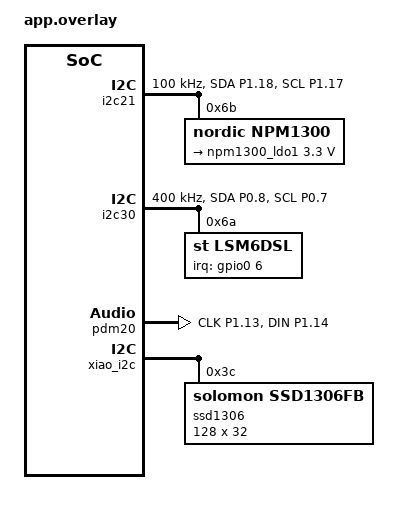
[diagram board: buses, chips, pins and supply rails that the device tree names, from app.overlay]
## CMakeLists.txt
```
cmake_minimum_required(VERSION 3.20.0)

# M4: converged OLED-variant firmware. Assembles the input side (gesture + pose
# + mic + LC3 uplink) with OLED text output. NO audio-downlink / HR (the
# speaker_stubs replace the downlink+playback seam; HR modules aren't compiled).

find_package(Zephyr REQUIRED HINTS $ENV{ZEPHYR_BASE})
project(nrf54_oled)

set(SHARED ${CMAKE_CURRENT_SOURCE_DIR}/../../src)

target_sources(app PRIVATE
    src/main.cpp
    src/speaker_stubs.cpp
    # output
    ${SHARED}/display_oled.cpp
    ${SHARED}/ble_display.cpp
    # gesture + orientation
    ${SHARED}/orientation.cpp
    ${SHARED}/gesture_poses.cpp
    ${SHARED}/gesture_mode.cpp
    # mic + LC3 uplink
    ${SHARED}/mic_vad.cpp
    ${SHARED}/mic_vad_rms.cpp
    ${SHARED}/audio_stream.cpp
    ${SHARED}/lc3_codec.c
    ${SHARED}/ble_audio.cpp
)
target_include_directories(app PRIVATE ${SHARED})
```

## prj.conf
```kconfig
# M4: converged OLED variant -- display + gesture/pose + mic LC3 uplink.
CONFIG_CPP=y
CONFIG_STD_CPP17=y
CONFIG_NEWLIB_LIBC=y
CONFIG_NEWLIB_LIBC_FLOAT_PRINTF=y

# FPU + CMSIS-DSP (orientation + mic_vad rFFT) + FPU sharing (LC3 on audio thread)
CONFIG_FPU=y
CONFIG_FPU_SHARING=y
CONFIG_CMSIS_DSP=y
CONFIG_CMSIS_DSP_TRANSFORM=y
CONFIG_CMSIS_DSP_FASTMATH=y
CONFIG_CMSIS_DSP_COMPLEXMATH=y
CONFIG_CMSIS_DSP_STATISTICS=y

CONFIG_LOG=y
CONFIG_LOG_MODE_IMMEDIATE=y

CONFIG_SERIAL=y
CONFIG_CONSOLE=y
CONFIG_UART_CONSOLE=y
CONFIG_UART_INTERRUPT_DRIVEN=y
CONFIG_REBOOT=y

CONFIG_MAIN_STACK_SIZE=4096
CONFIG_SYSTEM_WORKQUEUE_STACK_SIZE=4096
CONFIG_HEAP_MEM_POOL_SIZE=8192

CONFIG_GPIO=y
CONFIG_I2C=y

# nPM1300 LDO1 -> IMU/mic rail
CONFIG_REGULATOR=y
CONFIG_REGULATOR_NPM13XX=y
CONFIG_MFD=y

# IMU (104 Hz, ODR index 4)
CONFIG_SENSOR=y
CONFIG_LSM6DSL=y
CONFIG_LSM6DSL_ACCEL_ODR=4
CONFIG_LSM6DSL_GYRO_ODR=4

# PDM mic + LC3 encoder
CONFIG_AUDIO=y
CONFIG_AUDIO_DMIC=y
CONFIG_AUDIO_DMIC_NRFX_PDM=y
CONFIG_LIBLC3=y

# OLED (SSD1306 via CFB)
CONFIG_DISPLAY=y
CONFIG_SSD1306=y
CONFIG_CHARACTER_FRAMEBUFFER=y

# BLE peripheral: display-text service + audio-uplink service
CONFIG_BT=y
CONFIG_BT_PERIPHERAL=y
CONFIG_BT_DEVICE_NAME="gband-oled"
CONFIG_BT_L2CAP_TX_MTU=247
CONFIG_BT_BUF_ACL_TX_SIZE=251
CONFIG_BT_BUF_ACL_RX_SIZE=251
# Uplink throughput: default (3) TX buffers bottleneck the 50 LC3 notifies/sec --
# the audio thread blocks on bt_gatt_notify and mic blocks get dropped (q_drops),
# garbling the audio for ASR. More buffers let the SoftDevice send bursts per
# connection event.
CONFIG_BT_BUF_ACL_TX_COUNT=16
CONFIG_BT_L2CAP_TX_BUF_COUNT=16
CONFIG_BT_CONN_TX_MAX=16
# BT_BUF_EVT_RX_COUNT must exceed ACL_TX_COUNT (HCI flow control assert)
CONFIG_BT_BUF_EVT_RX_COUNT=20
```

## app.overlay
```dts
/*
 * Converged OLED variant (M4): all hardware in one overlay.
 *   OLED  : SSD1306 on xiao_i2c (i2c22), SCL D10/P1.06, SDA D9/P1.05
 *   IMU   : LSM6DS3TR-C on IIC0 (i2c30), SCL P0.07 / SDA P0.08, INT1 P0.06
 *   MIC   : PDM (pdm20 -> dmic0 alias), CLK P1.13 / DIN P1.14
 *   PMIC  : nPM1300 on IIC1 (i2c21), LDO1 powers the IMU&MIC rail
 * See docs/nrf54lm20a-board.md.
 */
#include <dt-bindings/regulator/npm13xx.h>

&pinctrl {
	i2c21_default: i2c21_default {
		group1 {
			psels = <NRF_PSEL(TWIM_SDA, 1, 18)>, <NRF_PSEL(TWIM_SCL, 1, 17)>;
		};
	};
	i2c21_sleep: i2c21_sleep {
		group1 {
			psels = <NRF_PSEL(TWIM_SDA, 1, 18)>, <NRF_PSEL(TWIM_SCL, 1, 17)>;
			low-power-enable;
		};
	};
	i2c30_default: i2c30_default {
		group1 {
			psels = <NRF_PSEL(TWIM_SDA, 0, 8)>, <NRF_PSEL(TWIM_SCL, 0, 7)>;
		};
	};
	i2c30_sleep: i2c30_sleep {
		group1 {
			psels = <NRF_PSEL(TWIM_SDA, 0, 8)>, <NRF_PSEL(TWIM_SCL, 0, 7)>;
			low-power-enable;
		};
	};
	pdm20_default: pdm20_default {
		group1 {
			psels = <NRF_PSEL(PDM_CLK, 1, 13)>, <NRF_PSEL(PDM_DIN, 1, 14)>;
		};
	};
};

&i2c21 {
	status = "okay";
	pinctrl-0 = <&i2c21_default>;
	pinctrl-1 = <&i2c21_sleep>;
	pinctrl-names = "default", "sleep";
	clock-frequency = <100000>;

	npm1300: pmic@6b {
		compatible = "nordic,npm1300";
		reg = <0x6b>;
		npm1300_regulators: regulators {
			compatible = "nordic,npm1300-regulator";
			npm1300_ldo1: LDO1 {
				regulator-min-microvolt = <3300000>;
				regulator-max-microvolt = <3300000>;
				regulator-initial-mode = <NPM13XX_LDSW_MODE_LDO>;
				regulator-boot-on;
				regulator-always-on;
			};
		};
	};
};

&i2c30 {
	status = "okay";
	pinctrl-0 = <&i2c30_default>;
	pinctrl-1 = <&i2c30_sleep>;
	pinctrl-names = "default", "sleep";
	clock-frequency = <400000>;

	lsm6dsl: lsm6dsl@6a {
		compatible = "st,lsm6dsl";
		reg = <0x6a>;
		irq-gpios = <&gpio0 6 GPIO_ACTIVE_HIGH>;
	};
};

&pdm20 {
	status = "okay";
	pinctrl-0 = <&pdm20_default>;
	pinctrl-names = "default";
	clock-source = "PCLK32M";
};

&xiao_i2c {
	status = "okay";

	ssd1306: ssd1306@3c {
		compatible = "solomon,ssd1306fb";
		reg = <0x3c>;
		width = <128>;
		height = <32>;
		segment-offset = <0>;
		page-offset = <0>;
		display-offset = <0>;
		multiplex-ratio = <31>;
		segment-remap;
		com-invdir;
		com-sequential;
		prechargep = <0x22>;
	};
};

/ {
	aliases {
		imu0 = &lsm6dsl;
		dmic0 = &pdm20;
	};
	chosen {
		zephyr,display = &ssd1306;
	};
};
```

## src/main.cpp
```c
/*
 * nRF54LM20A OLED variant -- M4: converged firmware.
 *
 * The complete OLED product loop, input + output:
 *   IN : acq thread (100 Hz IMU) -> gesture_mode (orientation + POSE_EAR gate) ->
 *        mic_vad (voice-onset -> MODE_DICTATION) -> audio_stream -> LC3 ->
 *        ble_audio NOTIFY (mic uplink to the host / Gemini).
 *   OUT: ble_display "display-text" characteristic -> OLED (host renders Gemini's
 *        TEXT reply here; there is NO speaker/audio-downlink on this variant).
 *
 * No HR, no audio-downlink, no AEC/barge-in (structurally absent -- no speaker).
 * Console: r reboot, b boot-info, v verbose pose/mode trace.
 */
#include <zephyr/kernel.h>
#include <zephyr/device.h>
#include <zephyr/drivers/sensor.h>
#include <zephyr/drivers/uart.h>
#include <zephyr/sys/reboot.h>
#include <zephyr/sys/atomic.h>
#include <zephyr/logging/log.h>
#include <string.h>

#include <zephyr/bluetooth/bluetooth.h>
#include <zephyr/bluetooth/conn.h>

#include "display_oled.h"
#include "ble_display.h"
#include "gesture_mode.h"
#include "mic_vad.h"
#include "audio_stream.h"

LOG_MODULE_REGISTER(main, LOG_LEVEL_INF);

static const struct device *const imu = DEVICE_DT_GET(DT_ALIAS(imu0));
static const struct device *const console_dev =
	DEVICE_DT_GET(DT_CHOSEN(zephyr_console));

#define DEVICE_NAME     CONFIG_BT_DEVICE_NAME
#define DEVICE_NAME_LEN (sizeof(DEVICE_NAME) - 1)

static atomic_t verbose = ATOMIC_INIT(0);
static atomic_t host_text_shown = ATOMIC_INIT(0);   /* host text overrides idle screen */
static atomic_t force_dict = ATOMIC_INIT(0);        /* bench: force dictation (bypass pose) */

/* ---- BLE display-text -> OLED ---- */
static void on_text(const uint8_t *data, uint16_t len)
{
	char buf[64];
	uint16_t n = (len < sizeof(buf) - 1) ? len : (sizeof(buf) - 1);
	memcpy(buf, data, n);
	buf[n] = '\0';
	char *line2 = strchr(buf, '\n');
	if (line2) { *line2 = '\0'; line2++; }
	LOG_INF("display-text: \"%s\"%s%s", buf, line2 ? " / " : "", line2 ? line2 : "");
	atomic_set(&host_text_shown, 1);
	display_oled_show(buf, line2);
}

/* ---- advertising (deferred restart avoids the ble_audio teardown race) ---- */
static const struct bt_data ad[] = {
	BT_DATA_BYTES(BT_DATA_FLAGS, (BT_LE_AD_GENERAL | BT_LE_AD_NO_BREDR)),
	BT_DATA(BT_DATA_NAME_COMPLETE, DEVICE_NAME, DEVICE_NAME_LEN),
};
#define ADV_PARAM BT_LE_ADV_PARAM(BT_LE_ADV_OPT_CONN, \
	BT_GAP_ADV_FAST_INT_MIN_2, BT_GAP_ADV_FAST_INT_MAX_2, NULL)

static void start_adv(void)
{
	int err = bt_le_adv_start(ADV_PARAM, ad, ARRAY_SIZE(ad), NULL, 0);
	if (err) {
		LOG_ERR("advertising start failed: %d", err);
	} else {
		LOG_INF("advertising as \"%s\"", DEVICE_NAME);
	}
}
static void adv_work_handler(struct k_work *w) { ARG_UNUSED(w); start_adv(); }
static K_WORK_DEFINE(adv_work, adv_work_handler);

static void on_disconnected(struct bt_conn *conn, uint8_t reason)
{
	ARG_UNUSED(conn);
	LOG_INF("disconnected (0x%02x) -> re-advertise (deferred)", reason);
	/* Defer: running bt_le_adv_start directly in the disconnect callback races
	 * ble_audio's conn teardown (seen as adv start -12 in M3c.2). */
	k_work_submit(&adv_work);
}
BT_CONN_CB_DEFINE(app_conn_cb) = { .disconnected = on_disconnected };

/* ---- acq thread: 100 Hz IMU -> gesture_mode (drives pose gate + mic uplink) ---- */
#define ACQ_STACK_SZ 2048
/* Below the audio thread (prio 8) so the 100 Hz IMU I2C + Mahony + OLED writes
 * can't preempt LC3 encode/BLE-notify. At prio 7 (above audio) it starved the
 * uplink -> encode+notify spiked 3->40 ms and audio_stream q_drops climbed.
 * mic capture stays prio 6 (highest). */
#define ACQ_PRIO     10
static K_THREAD_STACK_DEFINE(acq_stack, ACQ_STACK_SZ);
static struct k_thread acq_thread;

static void acq_loop(void *a, void *b, void *c)
{
	ARG_UNUSED(a); ARG_UNUSED(b); ARG_UNUSED(c);
	if (!device_is_ready(imu)) {
		LOG_ERR("IMU not ready -- acq disabled");
		return;
	}

	GestureMode last_mode = MODE_IDLE;
	int64_t last_trace = 0;

	while (1) {
		struct sensor_value acc[3], gyr[3];
		if (sensor_sample_fetch(imu) == 0) {
			sensor_channel_get(imu, SENSOR_CHAN_ACCEL_XYZ, acc);
			sensor_channel_get(imu, SENSOR_CHAN_GYRO_XYZ, gyr);
			float ax = sensor_value_to_double(&acc[0]);
			float ay = sensor_value_to_double(&acc[1]);
			float az = sensor_value_to_double(&acc[2]);
			float gx = sensor_value_to_double(&gyr[0]);
			float gy = sensor_value_to_double(&gyr[1]);
			float gz = sensor_value_to_double(&gyr[2]);

			/* accel stashed, then gyro drives orientation + pose + ear gate. */
			gesture_mode_update_accel(ax, ay, az);
			gesture_mode_update_gyro(gx, gy, gz);
		}

		/* Reflect dictation state on the OLED (unless host text is showing). */
		GestureMode m = gesture_mode_get();
		if (m != last_mode) {
			last_mode = m;
			if (m == MODE_DICTATION) {
				atomic_set(&host_text_shown, 0);
				display_oled_show("listening", "...");
			} else if (!atomic_get(&host_text_shown)) {
				display_oled_show("gband-oled", "ready");
			}
			LOG_INF("mode -> %s", gesture_mode_str(m));
		}

		if (atomic_get(&verbose)) {
			int64_t now = k_uptime_get();
			if (now - last_trace >= 200) {
				last_trace = now;
				float ggx, ggy, ggz;
				gesture_mode_get_gravity(&ggx, &ggy, &ggz);
				LOG_INF("g=(%5.2f,%5.2f,%5.2f) pose=%s mode=%s",
					(double)ggx, (double)ggy, (double)ggz,
					pose_name(gesture_mode_armed_pose()),
					gesture_mode_str(m));
			}
		}
		k_sleep(K_MSEC(10));   /* ~100 Hz */
	}
}

/* ---- console ---- */
static void uart_rx_cb(const struct device *dev, void *user_data)
{
	ARG_UNUSED(user_data);
	uint8_t ch;
	if (!uart_irq_update(dev) || !uart_irq_rx_ready(dev)) {
		return;
	}
	while (uart_fifo_read(dev, &ch, 1) == 1) {
		switch (ch) {
		case 'r':
			LOG_INF("reboot (cold)"); sys_reboot(SYS_REBOOT_COLD); break;
		case 'b':
			LOG_INF("no UF2 on nRF54L -- ./flash_nrf54.sh; rebooting");
			sys_reboot(SYS_REBOOT_COLD); break;
		case 'v':
			atomic_set(&verbose, atomic_get(&verbose) ? 0 : 1);
			LOG_INF("verbose %s", atomic_get(&verbose) ? "ON" : "OFF");
			break;
		case 'd': {
			/* Bench test: force dictation on/off, bypassing POSE_EAR. */
			bool on = !atomic_get(&force_dict);
			atomic_set(&force_dict, on ? 1 : 0);
			gesture_mode_debug_force_dictation(on);
			LOG_INF("FORCE dictation %s (subscribe on host + speak)",
				on ? "ON" : "OFF");
			break;
		}
		default: break;
		}
	}
}

int main(void)
{
	LOG_INF("=== gestureband nRF54LM20A OLED variant -- M4 converged ===");

	if (device_is_ready(console_dev)) {
		uart_irq_callback_user_data_set(console_dev, uart_rx_cb, NULL);
		uart_irq_rx_enable(console_dev);
		LOG_INF("console: r reboot, b boot-info, v verbose, d force-dictation");
	}

	if (display_oled_init() == 0) {
		display_oled_show("gband-oled", "booting");
	}
	ble_display_set_handler(on_text);

	gesture_mode_init();
	mic_vad_init();          /* gesture_mode's ear gate starts/stops it */
	audio_stream_init();     /* LC3 codec (audio thread auto-starts) */

	int err = bt_enable(NULL);
	if (err) {
		LOG_ERR("bt_enable failed: %d", err);
		display_oled_show("BLE", "FAILED");
		return 0;
	}
	LOG_INF("bluetooth enabled");
	start_adv();

	if (device_is_ready(imu)) {
		k_thread_create(&acq_thread, acq_stack,
				K_THREAD_STACK_SIZEOF(acq_stack), acq_loop,
				NULL, NULL, NULL, ACQ_PRIO, 0, K_NO_WAIT);
		k_thread_name_set(&acq_thread, "acq");
		display_oled_show("gband-oled", "ready");
		LOG_INF("ready: raise-to-ear + speak -> mic uplink; host writes text -> OLED");
	} else {
		LOG_ERR("IMU not ready -- gesture path disabled");
		display_oled_show("IMU", "NOT READY");
	}

	return 0;
}
```

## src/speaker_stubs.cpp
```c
/*
 * OLED variant has no speaker/downlink. gesture_mode calls audio_out_active()
 * (the "listening lean" that holds the ear session while the AI plays through
 * the speaker) -- always false here. ble_audio's downlink char forwards to
 * audio_downlink_feed/flush -- no-ops here. These stubs replace the entire
 * audio-downlink + playback stack for this variant.
 */
#include "audio_out.h"
#include "audio_downlink.h"

bool audio_out_active(void) { return false; }

void audio_downlink_feed(const uint8_t *lc3, size_t len) { (void)lc3; (void)len; }
void audio_downlink_flush(void) {}
```
